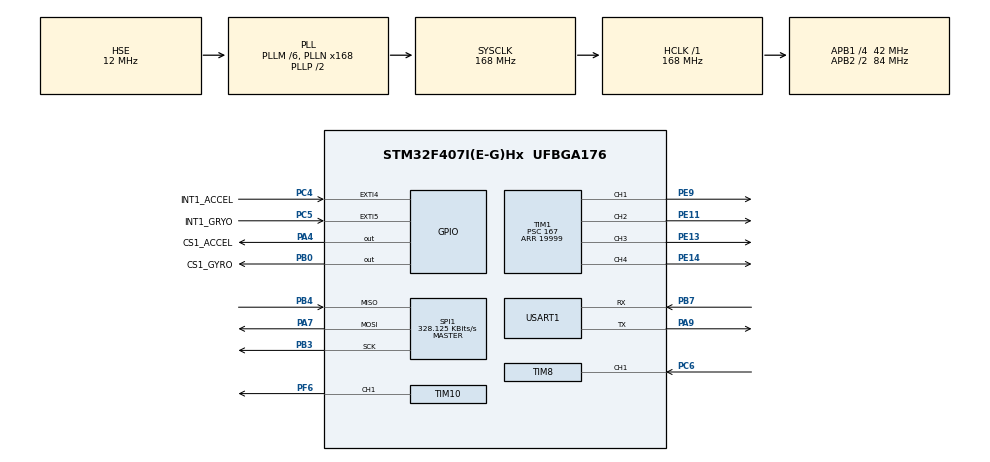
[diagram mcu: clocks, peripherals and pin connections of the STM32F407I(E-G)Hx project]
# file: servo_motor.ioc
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Dma.Request0=SPI1_RX
Dma.Request1=SPI1_TX
Dma.SPI1_RX.0.Direction=DMA_PERIPH_TO_MEMORY
Dma.SPI1_RX.0.FIFOMode=DMA_FIFOMODE_DISABLE
Dma.SPI1_RX.0.Instance=DMA2_Stream2
Dma.SPI1_RX.0.MemDataAlignment=DMA_MDATAALIGN_BYTE
Dma.SPI1_RX.0.MemInc=DMA_MINC_ENABLE
Dma.SPI1_RX.0.Mode=DMA_NORMAL
Dma.SPI1_RX.0.PeriphDataAlignment=DMA_PDATAALIGN_BYTE
Dma.SPI1_RX.0.PeriphInc=DMA_PINC_DISABLE
Dma.SPI1_RX.0.Priority=DMA_PRIORITY_VERY_HIGH
Dma.SPI1_TX.1.Direction=DMA_MEMORY_TO_PERIPH
Dma.SPI1_TX.1.FIFOMode=DMA_FIFOMODE_DISABLE
Dma.SPI1_TX.1.Instance=DMA2_Stream3
Dma.SPI1_TX.1.MemDataAlignment=DMA_MDATAALIGN_BYTE
Dma.SPI1_TX.1.MemInc=DMA_MINC_ENABLE
Dma.SPI1_TX.1.Mode=DMA_NORMAL
Dma.SPI1_TX.1.PeriphDataAlignment=DMA_PDATAALIGN_BYTE
Dma.SPI1_TX.1.PeriphInc=DMA_PINC_DISABLE
Dma.SPI1_TX.1.Priority=DMA_PRIORITY_HIGH
Mcu.Family=STM32F4
Mcu.Name=STM32F407I(E-G)Hx
Mcu.Package=UFBGA176
NVIC.DMA2_Stream2_IRQn=true\:5\:0\:true\:false\:false\:false\:false
NVIC.DMA2_Stream3_IRQn=true\:0\:0\:false\:false\:false\:false\:false
NVIC.EXTI4_IRQn=true\:0\:0\:false\:false\:true\:true\:true
NVIC.EXTI9_5_IRQn=true\:0\:0\:false\:false\:true\:true\:true
NVIC.PriorityGroup=NVIC_PRIORITYGROUP_4
NVIC.TIM8_CC_IRQn=true\:0\:0\:false\:false\:true\:true\:true
NVIC.USART1_IRQn=true\:0\:0\:false\:false\:true\:true\:true
PA13.Mode=Serial_Wire
PA13.Signal=SYS_JTMS-SWDIO
PA14.Mode=Serial_Wire
PA14.Signal=SYS_JTCK-SWCLK
PA4.GPIO_Label=CS1_ACCEL
PA4.GPIO_ModeDefaultOutputPP=GPIO_MODE_OUTPUT_PP
PA4.GPIO_PuPd=GPIO_PULLUP
PA4.GPIO_Speed=GPIO_SPEED_FREQ_HIGH
PA4.PinState=GPIO_PIN_SET
PA4.Signal=GPIO_Output
PA7.Mode=Full_Duplex_Master
PA7.Signal=SPI1_MOSI
PA9.Mode=Asynchronous
PA9.Signal=USART1_TX
PB0.GPIO_Label=CS1_GYRO
PB0.GPIO_PuPd=GPIO_PULLUP
PB0.GPIO_Speed=GPIO_SPEED_FREQ_HIGH
PB0.PinState=GPIO_PIN_SET
PB0.Signal=GPIO_Output
PB3.Mode=Full_Duplex_Master
PB3.Signal=SPI1_SCK
PB4.Mode=Full_Duplex_Master
PB4.Signal=SPI1_MISO
PB7.Mode=Asynchronous
PB7.Signal=USART1_RX
PC4.GPIO_Label=INT1_ACCEL
PC4.GPIO_ModeDefaultEXTI=GPIO_MODE_IT_FALLING
PC4.GPIO_PuPd=GPIO_PULLUP
PC4.Signal=GPXTI4
PC5.GPIO_Label=INT1_GRYO
PC5.GPIO_ModeDefaultEXTI=GPIO_MODE_IT_FALLING
PC5.GPIO_PuPd=GPIO_PULLUP
PC5.Signal=GPXTI5
PC6.GPIO_PuPd=GPIO_PULLUP
PC6.GPIO_Speed=GPIO_SPEED_FREQ_HIGH
PC6.Signal=S_TIM8_CH1
PE11.GPIO_PuPd=GPIO_PULLUP
PE11.GPIO_Speed=GPIO_SPEED_FREQ_HIGH
PE11.Signal=S_TIM1_CH2
PE13.GPIO_PuPd=GPIO_PULLUP
PE13.GPIO_Speed=GPIO_SPEED_FREQ_HIGH
PE13.Signal=S_TIM1_CH3
PE14.GPIO_PuPd=GPIO_PULLUP
PE14.GPIO_Speed=GPIO_SPEED_FREQ_HIGH
PE14.Signal=S_TIM1_CH4
PE9.GPIO_PuPd=GPIO_PULLUP
PE9.GPIO_Speed=GPIO_SPEED_FREQ_HIGH
PE9.Signal=S_TIM1_CH1
PF6.GPIO_PuPd=GPIO_PULLUP
PF6.GPIO_Speed=GPIO_SPEED_FREQ_HIGH
PF6.Signal=S_TIM10_CH1
PH0-OSC_IN.Mode=HSE-External-Oscillator
PH0-OSC_IN.Signal=RCC_OSC_IN
PH1-OSC_OUT.Mode=HSE-External-Oscillator
PH1-OSC_OUT.Signal=RCC_OSC_OUT
PI7.GPIO_PuPd=GPIO_PULLUP
PI7.GPIO_Speed=GPIO_SPEED_FREQ_HIGH
PI7.Signal=S_TIM8_CH3
ProjectManager.HeapSize=0x2000
ProjectManager.StackSize=0x2000
ProjectManager.TargetToolchain=MDK-ARM V5
RCC.48MHZClocksFreq_Value=48000000
RCC.AHBFreq_Value=168000000
RCC.APB1CLKDivider=RCC_HCLK_DIV4
RCC.APB1Freq_Value=42000000
RCC.APB1TimFreq_Value=84000000
RCC.APB2CLKDivider=RCC_HCLK_DIV2
RCC.APB2Freq_Value=84000000
RCC.APB2TimFreq_Value=168000000
RCC.CortexFreq_Value=168000000
RCC.HCLKFreq_Value=168000000
RCC.HSE_VALUE=12000000
RCC.HSI_VALUE=16000000
RCC.LSE_VALUE=32768
RCC.PLLM=6
RCC.PLLN=168
RCC.PLLQ=7
RCC.PLLSourceVirtual=RCC_PLLSOURCE_HSE
RCC.RCC_RTC_Clock_SourceVirtual=RCC_RTCCLKSOURCE_HSE_DIV30
RCC.RCC_RTC_Clock_Source_FROM_HSE=RCC_RTCCLKSOURCE_HSE_DIV30
RCC.SYSCLKFreq_VALUE=168000000
RCC.SYSCLKSource=RCC_SYSCLKSOURCE_PLLCLK
RCC.VCOOutputFreq_Value=336000000
SH.S_TIM10_CH1.0=TIM10_CH1,PWM Generation1 CH1
SH.S_TIM1_CH1.0=TIM1_CH1,PWM Generation1 CH1
SH.S_TIM1_CH2.0=TIM1_CH2,PWM Generation2 CH2
SH.S_TIM1_CH3.0=TIM1_CH3,PWM Generation3 CH3
SH.S_TIM1_CH4.0=TIM1_CH4,PWM Generation4 CH4
SH.S_TIM8_CH1.0=TIM8_CH1,Input_Capture1_from_TI1
SH.S_TIM8_CH3.0=TIM8_CH3
SPI1.BaudRatePrescaler=SPI_BAUDRATEPRESCALER_256
SPI1.CLKPhase=SPI_PHASE_2EDGE
SPI1.CLKPolarity=SPI_POLARITY_HIGH
SPI1.CalculateBaudRate=328.125 KBits/s
SPI1.Direction=SPI_DIRECTION_2LINES
SPI1.Mode=SPI_MODE_MASTER
SPI1.VirtualType=VM_MASTER
TIM1.Channel-PWM\ Generation1\ CH1=TIM_CHANNEL_1
TIM1.Channel-PWM\ Generation2\ CH2=TIM_CHANNEL_2
TIM1.Channel-PWM\ Generation3\ CH3=TIM_CHANNEL_3
TIM1.Channel-PWM\ Generation4\ CH4=TIM_CHANNEL_4
TIM1.Period=19999
TIM1.Prescaler=167
TIM1.Pulse-PWM\ Generation1\ CH1=2000
TIM1.Pulse-PWM\ Generation2\ CH2=2000
TIM1.Pulse-PWM\ Generation3\ CH3=2000
TIM1.Pulse-PWM\ Generation4\ CH4=2000
TIM10.Channel=TIM_CHANNEL_1
TIM10.Period=4999
TIM8.Channel-Input_Capture1_from_TI1=TIM_CHANNEL_1
TIM8.Period=0xffff
TIM8.Prescaler=2564
USART1.VirtualMode=VM_ASYNC
VP_TIM10_VS_ClockSourceINT.Mode=Enable_Timer
VP_TIM1_VS_ClockSourceINT.Mode=Internal
board=custom

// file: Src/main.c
/* USER CODE BEGIN Header */
/**
  ******************************************************************************
  * @file           : main.c
  * @brief          : Main program body
  ******************************************************************************
  * @attention
  *
  * <h2><center>&copy; Copyright (c) 2019 STMicroelectronics.
  * All rights reserved.</center></h2>
  *
  * This software component is licensed by ST under BSD 3-Clause license,
  * the "License"; You may not use this file except in compliance with the
  * License. You may obtain a copy of the License at:
  *                        opensource.org/licenses/BSD-3-Clause
  *
  ******************************************************************************
  */
/* USER CODE END Header */
#include "main.h"
#include "dma.h"
#include "spi.h"
#include "tim.h"
#include "usart.h"
#include "gpio.h"

/* USER CODE BEGIN Includes */
#include <stdio.h>
#include <stdarg.h>
#include "string.h"
#include "BMI088driver.h"
/* USER CODE END Includes */

void SystemClock_Config(void);

/* USER CODE BEGIN 0 */

//I'd like to thank this author who did me such a huge favour in pwm capture.
//https://controllerstech.com/how-to-use-input-capture-in-stm32/
//for ANO, I learnt from this tutorial
//https://www.bilibili.com/video/BV1cJ411N7P4/?spm_id_from=333.788.videocard.6

//----------------------------IMU-----------------------------------------------------//
fp32 gyro[3], accel[3], temp;

//-------------------------------------------------ANO--------------------------------------------------------------------------------------//

int trans_scale = 1000000;

#define BYTE0(dwTemp) (*( (char *)(&dwTemp)     ))
#define BYTE1(dwTemp) (*( (char *)(&dwTemp)+1     ))
#define BYTE2(dwTemp) (*( (char *)(&dwTemp)+2    ))
#define BYTE3(dwTemp) (*( (char *)(&dwTemp)+3    ))

uint8_t testdatatosend[50];
void TestSendData(uint8_t *dataToSend, uint8_t length);
void Test_Send_User (uint16_t data1, uint16_t data2, uint16_t data3,
					uint16_t data4, uint16_t data5, uint16_t data6,
					uint16_t data7,uint16_t data8,uint16_t data9,
					uint16_t data10);

//-------------------------------------------ANO_END---------------------------------------//

//testing
uint16_t cont1 =0;
uint8_t flip=0;
uint8_t times=0;
float t_pwm = 1600;
uint16_t ref_hz = 300;

//capture freq
char str[12];
char str2[12];
float main_clock_freq = 168e6;
uint16_t psc_val = 2564;     ///range = 1hz to 13kHZ
uint16_t ARR_val = 0xffff;
float timer_counting_freq;
float IC_Value1=0.0;
float IC_Value2=0.0;
float Diff = 0.0;
float freq = 0.0;
uint8_t Is_first_capture=0; //0-not captured, 1- captured

//pid part
float freq_to_m_rpm;
float motor_to_wheel;
float e_pre=0;
float e_now=0;
float delta_e=0;
float delta_t=1;  //This is changing, hard to capture?
float I_e=0;
float kp=0.0001;
float ki=0.00005;
float kd=0.00001;

void HAL_TIM_IC_CaptureCallback(TIM_HandleTypeDef *htim)
{
	if(htim->Channel == HAL_TIM_ACTIVE_CHANNEL_1) //If tim8 ch1 prompts an interrupt
	{
		if(Is_first_capture==0) //if first captured?
		{
			IC_Value1=HAL_TIM_ReadCapturedValue(htim,TIM_CHANNEL_1); //Read the timestamp
			Is_first_capture=1;
		}

		else if (Is_first_capture) //not the first capture
		{
			IC_Value2 = HAL_TIM_ReadCapturedValue(htim,TIM_CHANNEL_1); //Record the second capture
			if(IC_Value2 > IC_Value1)
								      /*
										Since we have adjusted psc to make sure
										the time difference between the two values are smaller
										than the time needed for counter to count from 0 to arr,
										then there are only two cases: IC2 and IC1 are on the same slope
										in which IC2 >ic1
										OR, IC2 and ic1 are on different slope in which ic2 MUST be smaller
										than ic1
										*/
			{
				Diff = IC_Value2 - IC_Value1;
			}
			else if(IC_Value2 < IC_Value1) //On different slope
			{
				Diff=((ARR_val-IC_Value1)+IC_Value2) +1; //i don't understand why plus 1;
			}
			else
			{
				Error_Handler();  //Built in hal func for which i have no idea what it is doing
			}
			//freq = (168e6/72)/Diff;
			freq = (timer_counting_freq)/Diff;
									/*
									//for psc = 72
									//168e6/72 is the freq of the timer, where 72 is the psc
									//168e6/72 gives how quick the counter is counting from 0 to ARR
									//So the timer counts every (72/168e6=4.2e-7) seconds and takes
									// 4.2e-7 *ARR(65536) = 0.028 seconds to reach ARR
									//So we need to make sure that the time difference between two
									//rising edge is within 0.028 seconds(as in this mode
									//when rising edge is detected and this function is called,
									// the current counting number will not be reset to zero)
									//otherwise the algo will fail
									//in other words, the minimum freq that we can detect
									// is (168e6/72)/ARR = 35.6 = 1/0.028
									//If the minimum freq required is even lower, we can adjust
									// the psc (72 here) to lower the mini detectable freq
									//The max detectable freq is the counting freq of the tim
									//or for a better precision 2 or 3 or 5times lower than
									// the couting freq of the tim
									//so here maxf = (168e6/72)/accurate_factor(5) = 466 kHz.
									//so detectable range is 35.6 to 466 khz

									//for psc = 2564  range = 1hz to 13kHZ
									//Might change to this psc in the future---- did --very good result
									*/

			Is_first_capture =0; //reset ready for next capture.
		}

	}
}
/* USER CODE END 0 */

int main(void)
{

  /* MCU Configuration--------------------------------------------------------*/

  /* Reset of all peripherals, Initializes the Flash interface and the Systick. */
  HAL_Init();

  /* Configure the system clock */
  SystemClock_Config();

  /* Initialize all configured peripherals */
  MX_GPIO_Init();
  MX_DMA_Init();
  MX_TIM8_Init();
  MX_TIM1_Init();
  MX_USART1_UART_Init();
  MX_SPI1_Init();
  MX_TIM10_Init();
  /* USER CODE BEGIN 2 */
	while(BMI088_init())  //Init the IMU
    {
        ;
    }

    HAL_TIM_Base_Start(&htim1);
    HAL_TIM_PWM_Start(&htim1, TIM_CHANNEL_1);
    HAL_TIM_PWM_Start(&htim1, TIM_CHANNEL_2);
    HAL_TIM_PWM_Start(&htim1, TIM_CHANNEL_3);
	__HAL_TIM_SetCompare(&htim1, TIM_CHANNEL_1, 1500);
	//Tim8 ch1 for capture
	HAL_TIM_IC_Start_IT(&htim8,TIM_CHANNEL_1);
	timer_counting_freq = main_clock_freq/psc_val;
	HAL_Delay(8000);
	//__HAL_TIM_SetCompare(&htim1, TIM_CHANNEL_1, 1600);
	//HAL_Delay(3000);
  /* USER CODE END 2 */

  /* Infinite loop */
  /* USER CODE BEGIN WHILE */
  while (1)
  {

/*
//20ms ARR 20000
//1600 motor: low back , wheel small to left (driver view) ----- 1.6ms ----------never give motor value greater than 1500
//1400 motor: low forward, wheel small to left -------------------1.4ms

//wheel
//left max-----1800 ----1.8ms
//right max ---- 1100  --- 1.2ms

//motor
//1500 zero ----------------------1.5ms   ------- 0hz
//2000 max ------------------------2ms -- forward  ---- 753~761hz
//could be higher
//never put value smaller than 1500;
  */

/*
//---------------------------------------Old_print_func-------------------------------------------//

//		sprintf(str2, "%d", ref_hz);
//		sprintf(str, "%f", freq);
//
//		//HAL_UART_Transmit(&huart1, "Actual:", 12, 100);
//		HAL_UART_Transmit(&huart1, str, 12, 100);
//		HAL_UART_Transmit(&huart1, "    \r\n", 12, 100);
//
//		//HAL_UART_Transmit(&huart1, "ref:", 12, 100);
//		HAL_UART_Transmit(&huart1, str2, 12, 100);
//		HAL_UART_Transmit(&huart1, "    \r\n", 12, 100);
//---------------------------------------Old_print_func-------------------------------------------//
*/

//-------------------------------------PID_adjust----------------------------------------------//
//	if(flip==0)
//	{
//		cont1 ++;
//		if (cont1 >100)
//			{
//				ref_hz +=600;
//				if(ref_hz<700)
//				{
//					ref_hz = ref_hz;
//				}
//				else
//				{
//					ref_hz =400;
//				}
//
//				times ++;
//
//				if(times >1)
//				{
//					flip=1;
//					times = 0;
//				}
//
//
//				cont1 = 0;
//			}
//
//	}
//
//	if(flip==1)
//	{
//		cont1 ++;
//		if (cont1 >100)
//			{
//				ref_hz -=600;
//				if(ref_hz<701 && ref_hz>200)
//				{
//					ref_hz = ref_hz;
//				}
//				else
//				{
//					ref_hz =200;
//				}
//
//				times ++;
//
//				if(times >1)
//				{
//					flip=0;
//					times = 0;
//				}
//
//				cont1 = 0;
//			}
//
//	}

//--------------------------------------------PID_adjust------------------------------------------------//

//-------------------------------------PID----------------------------------------------------//

//	e_pre = e_now; // a possible bug here
//
//	e_now = ref_hz - freq;  //positive means low speed, so kp is positive
//	I_e += e_now;   //ki positive

//	delta_e = (e_now - e_pre)/delta_t;   /// watch sign   ---- possible bugs here
//	//if the gradient is increasing

//	t_pwm = kp*e_now + ki*I_e + kd*delta_e;
//	if(t_pwm>1.0)
//	{
//		t_pwm = 1.0;
//	}
//	if(t_pwm<-1.0) t_pwm=-1.0;
//
//	t_pwm =1500 + t_pwm*500; //motor moves forward range: 1500 to 2000  (1.5ms to 2ms)
//	if(t_pwm<1500) t_pwm=1500;
//	if(t_pwm>2000) t_pwm=2000;
//	__HAL_TIM_SetCompare(&htim1, TIM_CHANNEL_1, t_pwm);

//-------------------------------------PID----------------------------------------------------//

//---------------------------------------IMU----------------------------------------------//
    BMI088_read(gyro, accel, &temp);
//---------------------------------------IMU_END----------------------------------------------//

//--------------------------------------ANO-----------------------------------------------//
	HAL_Delay(20);  //20ms
	gyro[0] *= trans_scale;
	gyro[1] *= trans_scale;
	gyro[2] *= trans_scale;
	accel[0] *= trans_scale;
	accel[1] *= trans_scale;
	accel[2] *= trans_scale;

	Test_Send_User(ref_hz,freq,gyro[0],gyro[1],gyro[2],accel[0],accel[1],accel[2],temp,10);
//--------------------------------------ANO-----------------------------------------------//

//while end scope
	}

    /* USER CODE END WHILE */

}

void SystemClock_Config(void)
{
  RCC_OscInitTypeDef RCC_OscInitStruct = {0};
  RCC_ClkInitTypeDef RCC_ClkInitStruct = {0};

  /** Configure the main internal regulator output voltage
  */
  __HAL_RCC_PWR_CLK_ENABLE();
  __HAL_PWR_VOLTAGESCALING_CONFIG(PWR_REGULATOR_VOLTAGE_SCALE1);
  /** Initializes the RCC Oscillators according to the specified parameters
  * in the RCC_OscInitTypeDef structure.
  */
  RCC_OscInitStruct.OscillatorType = RCC_OSCILLATORTYPE_HSE;
  RCC_OscInitStruct.HSEState = RCC_HSE_ON;
  RCC_OscInitStruct.PLL.PLLState = RCC_PLL_ON;
  RCC_OscInitStruct.PLL.PLLSource = RCC_PLLSOURCE_HSE;
  RCC_OscInitStruct.PLL.PLLM = 6;
  RCC_OscInitStruct.PLL.PLLN = 168;
  RCC_OscInitStruct.PLL.PLLP = RCC_PLLP_DIV2;
  RCC_OscInitStruct.PLL.PLLQ = 7;
  if (HAL_RCC_OscConfig(&RCC_OscInitStruct) != HAL_OK)
  {
    Error_Handler();
  }
  /** Initializes the CPU, AHB and APB buses clocks
  */
  RCC_ClkInitStruct.ClockType = RCC_CLOCKTYPE_HCLK|RCC_CLOCKTYPE_SYSCLK
                              |RCC_CLOCKTYPE_PCLK1|RCC_CLOCKTYPE_PCLK2;
  RCC_ClkInitStruct.SYSCLKSource = RCC_SYSCLKSOURCE_PLLCLK;
  RCC_ClkInitStruct.AHBCLKDivider = RCC_SYSCLK_DIV1;
  RCC_ClkInitStruct.APB1CLKDivider = RCC_HCLK_DIV4;
  RCC_ClkInitStruct.APB2CLKDivider = RCC_HCLK_DIV2;

  if (HAL_RCC_ClockConfig(&RCC_ClkInitStruct, FLASH_LATENCY_5) != HAL_OK)
  {
    Error_Handler();
  }
}

/* USER CODE BEGIN 4 */
//--------------------------------------ANO-----------------------------------------------//
void TestSendData(uint8_t *dataToSend, uint8_t length)
{
	HAL_UART_Transmit(&huart1,(uint8_t *)&testdatatosend, length, 0xffff);
}

void Test_Send_User (uint16_t data1, uint16_t data2, uint16_t data3,
					uint16_t data4, uint16_t data5, uint16_t data6,
					uint16_t data7,uint16_t data8,uint16_t data9,
					uint16_t data10)
{
	uint8_t _cnt=0;
	testdatatosend[_cnt++]=0xAA;
	testdatatosend[_cnt++]=0x05;
	testdatatosend[_cnt++]=0xAF;
	testdatatosend[_cnt++]=0xF1;
	testdatatosend[_cnt++]=0;

	testdatatosend[_cnt++]=BYTE1(data1);
	testdatatosend[_cnt++]=BYTE0(data1);

	testdatatosend[_cnt++]=BYTE1(data2);
	testdatatosend[_cnt++]=BYTE0(data2);

	testdatatosend[_cnt++]=BYTE1(data3);
	testdatatosend[_cnt++]=BYTE0(data3);

	testdatatosend[_cnt++]=BYTE1(data4);
	testdatatosend[_cnt++]=BYTE0(data4);

	testdatatosend[_cnt++]=BYTE1(data5);
	testdatatosend[_cnt++]=BYTE0(data5);

	testdatatosend[_cnt++]=BYTE1(data6);
	testdatatosend[_cnt++]=BYTE0(data6);

	testdatatosend[_cnt++]=BYTE1(data7);
	testdatatosend[_cnt++]=BYTE0(data7);

	testdatatosend[_cnt++]=BYTE1(data8);
	testdatatosend[_cnt++]=BYTE0(data8);

	testdatatosend[_cnt++]=BYTE1(data9);
	testdatatosend[_cnt++]=BYTE0(data9);

	testdatatosend[_cnt++]=BYTE1(data10);
	testdatatosend[_cnt++]=BYTE0(data10);

	testdatatosend[4] = _cnt - 5;

	uint8_t sum = 0;

	for(uint8_t i=0; i<_cnt; i++)
		sum += testdatatosend[i];

	testdatatosend[_cnt++]=sum;

	TestSendData(testdatatosend, _cnt);
}
//--------------------------------------ANO_END-----------------------------------------------//
/* USER CODE END 4 */

void Error_Handler(void)
{
}

/************************ (C) COPYRIGHT STMicroelectronics *****END OF FILE****/
